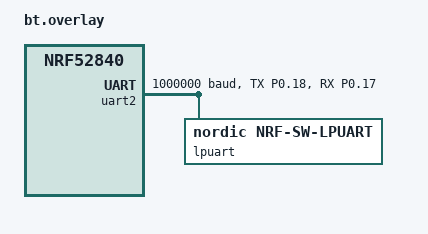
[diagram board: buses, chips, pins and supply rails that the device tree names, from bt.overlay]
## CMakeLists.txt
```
#
# Copyright (c) 2020 Nordic Semiconductor
#
# SPDX-License-Identifier: LicenseRef-Nordic-5-Clause
#

cmake_minimum_required(VERSION 3.20.0)

find_package(Zephyr REQUIRED HINTS $ENV{ZEPHYR_BASE})
project(MOSH)
target_include_directories(app PRIVATE src)

target_sources(app PRIVATE src/main.c)
target_sources(app PRIVATE src/shell.c)

add_subdirectory(src/print)
add_subdirectory(src/utils)
add_subdirectory(src/uart)
add_subdirectory(src/at)
add_subdirectory(src/link)
add_subdirectory_ifdef(CONFIG_MOSH_NRF91_NON_OFFLOADING_DEV src/drivers)
add_subdirectory_ifdef(CONFIG_MOSH_WORKER_THREADS src/th)
add_subdirectory_ifdef(CONFIG_MOSH_SOCK src/sock)
add_subdirectory_ifdef(CONFIG_MOSH_PING src/ping)
add_subdirectory_ifdef(CONFIG_MOSH_GNSS src/gnss)
add_subdirectory_ifdef(CONFIG_MOSH_SMS src/sms)
add_subdirectory_ifdef(CONFIG_MOSH_LOCATION src/location)
add_subdirectory_ifdef(CONFIG_MOSH_PPP src/ppp)
add_subdirectory_ifdef(CONFIG_MOSH_FOTA src/fota)
add_subdirectory_ifdef(CONFIG_MOSH_REST src/rest)
add_subdirectory_ifdef(CONFIG_MOSH_STARTUP_CMDS src/startup_cmd)
add_subdirectory_ifdef(CONFIG_MOSH_GPIO_COUNT src/gpio_count)
add_subdirectory_ifdef(CONFIG_MOSH_NTN src/ntn)
add_subdirectory_ifdef(CONFIG_SAMPLE_MOSH_IRONSIDE_SE_EVENT_REPORT src/ironside_se_event)
add_subdirectory(src/cloud)

if(CONFIG_SOC_NRF9251_CPUAPP AND CONFIG_CODE_DATA_RELOCATION)
  # Only .noinit (thread stacks) of these files is moved to the local TCM. TCM is not
  # accessible by EasyDMA or other cores, so these files must not have other .noinit objects
  # used for DMA or IPC.
  zephyr_code_relocate(FILES
    src/main.c
    ${ZEPHYR_BASE}/subsys/shell/backends/shell_uart.c
    ${ZEPHYR_BASE}/kernel/init.c
    ${ZEPHYR_BASE}/kernel/system_work_q.c
    LOCATION TCM_NOINIT
  )
  zephyr_code_relocate_ifdef(CONFIG_MOSH_SOCK FILES src/sock/sock.c LOCATION TCM_NOINIT)
  zephyr_code_relocate_ifdef(CONFIG_MOSH_GNSS FILES src/gnss/gnss.c LOCATION TCM_NOINIT)
endif()

if(NOT ENV{PROJECT_NAME})
  zephyr_compile_definitions(
    PROJECT_NAME=${CMAKE_PROJECT_NAME}
  )
endif()
```

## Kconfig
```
#
# Copyright (c) 2020 Nordic Semiconductor ASA
#
# SPDX-License-Identifier: LicenseRef-Nordic-5-Clause
#

menu "Nordic Modem Shell config"

config MOSH_IPERF3
	bool "iPerf3"
	default y
	select NRF_IPERF3

config NRF_IPERF3_PROMPTLESS
	bool
	default y

config MOSH_SOCK
	bool "Socket tool"
	default y
	help
	  Socket tool with TCP, UDP, RAW, IPv4, IPv6 and packet socket support.

config MOSH_PING
	bool "ICMP ping"
	default y
	help
	  Ping is a tool for testing the reachability of a host on an IP network.

config MOSH_CURL
	bool "cURL"
	default y
	select NRF_CURL

config NRF_CURL_PROMPTLESS
	bool
	default y

config MOSH_GNSS
	bool "GNSS"
	default y
	help
	  GNSS feature for searching the location of the device.

config MOSH_PPP
	bool "PPP"
	help
	  Point-to-Point Protocol for enabling dial-up access to the Internet.

config MOSH_SMS
	bool "SMS"
	default y
	help
	  SMS tool for sending and receiving SMS messages.

config MOSH_LOCATION
	bool "Location"
	default y
	select LOCATION
	select NRF_CLOUD_LOCATION if MOSH_CLOUD_MQTT && (LOCATION_METHOD_CELLULAR || LOCATION_METHOD_WIFI)
	help
	  Tool for location queries via location library.

config MOSH_FOTA
	bool "FOTA"
	default y
	help
	  FOTA for performing software updates over-the-air for both modem and application side.

config MOSH_REST
	bool "REST client"
	default y
	select REST_CLIENT
	help
	  REST client for sending and receiving simple REST requests/responses.

config MOSH_CLOUD_MQTT
	bool "MQTT connection to nRF Cloud"
	select NRF_CLOUD_MQTT
	help
	  MQTT connection to nRF Cloud.

config MOSH_CLOUD_COAP
	bool "CoAP connection to nRF Cloud"
	select NRF_CLOUD_COAP
	select MODEM_JWT
	help
	  CoAP connection to nRF Cloud.

config MOSH_CLOUD_LWM2M
	bool "Cloud connection using LwM2M"
	help
	  Cloud connection using LwM2M.

config MOSH_AT_CMD_MODE
	bool "Specific AT command mode"
	default y

config MOSH_GPIO_COUNT
	bool "GPIO pin pulse counter"
	default y if !BOARD_THINGY91X_NRF9151_NS
	help
	  Tool for counting the number of pulses on a GPIO pin.

config MOSH_NTN
	bool "Non-Terrestrial Network (NTN)"
	default y if BOARD_NRF9151DK_NRF9151_NS
	select NTN
	help
	  Helper functionality for NTN usage.

config SAMPLE_MOSH_IRONSIDE_SE_EVENT_REPORT
	bool "IronSide SE event report monitoring"
	default y if SOC_NRF9251_CPUAPP
	depends on HAS_IRONSIDE_SE_CALL
	help
	  Subscribe to IronSide SE event report bells (1 and 2) and print
	  received event reports to the terminal.

config MOSH_PRINT_BUFFER_SIZE
	int "Buffer size used when printing modem shell output"
	default 1024
	help
	  If the printed string exceeds this buffer, an error message is printed first and
	  then the requested string cut into the length of this buffer.

config MOSH_COMMON_WORKQUEUE_STACK_SIZE
	int "Common workqueue stack size"
	default 7168 if MOSH_CLOUD_MQTT
	default 6144 if MOSH_STARTUP_CMDS && MOSH_CURL
	default 4096

config MOSH_COMMON_WORKQUEUE_PRIORITY
	int "Common workqueue priority"
	default 5

if NRF_IPERF3

config NRF_IPERF3_RESULTS_WAIT_TIME
	default 180
endif

if MOSH_IPERF3 || MOSH_PING
menu "MoSH iperf3 and ping command selections"

config MOSH_WORKER_THREADS
	bool "Possibility to run iperf3 or ping instances in separate threads"
	default y

config MOSH_STARTUP_CMDS
	bool "Possibility to run stored MoSh commands from settings after bootup"
	default y

config MOSH_NRF91_NON_OFFLOADING_DEV
	bool "Possibility to run iperf3 with Zephyr TCP/IP stack"

endmenu
endif

if MOSH_AT_CMD_MODE
choice
	prompt "Command termination"
	default MOSH_AT_CMD_MODE_CR_LF_TERMINATION
	help
	  Sets the command termination ending from the serial terminal
	  Levels are:
	  -  NULL Termination
	  -  CR Termination
	  -  LF Termination
	  -  CR+LF Termination

config MOSH_AT_CMD_MODE_NULL_TERMINATION
	bool "NULL Termination"

config MOSH_AT_CMD_MODE_CR_TERMINATION
	bool "CR Termination"

config MOSH_AT_CMD_MODE_LF_TERMINATION
	bool "LF Termination"

config MOSH_AT_CMD_MODE_CR_LF_TERMINATION
	bool "CR+LF Termination"

endchoice

config MOSH_AT_CMD_MODE_TERMINATION
	int
	default 0 if MOSH_AT_CMD_MODE_NULL_TERMINATION
	default 1 if MOSH_AT_CMD_MODE_CR_TERMINATION
	default 2 if MOSH_AT_CMD_MODE_LF_TERMINATION
	default 3 if MOSH_AT_CMD_MODE_CR_LF_TERMINATION
endif

menu "MoSH link control selections"

config MOSH_LINK_SETT_NORMAL_MODE_AT_CMD_STR_LEN
	int "Link settings AT command length"
	default 127
	help
	  String length for custom AT commands stored into settings to be used
	  when going to normal mode.

endmenu

if MOSH_WORKER_THREADS

config MOSH_WORKER_THREADS_OUTPUT_BUFFER_SIZE
	int "Buffer size for storing output of the background thread commands"
	default 4096

config MOSH_WORKER_THREADS_STACK_SIZE
	int "Worker thread stack size"
	default 4096

endif #MOSH_WORKER_THREADS

if MOSH_CLOUD_LWM2M

config MOSH_LWM2M_PSK
	string "LwM2M pre-shared key for communication"
	help
	  Pre-shared key must be identical to the PSK registered with the device on the LwM2M server.
	  Use the hexadecimal representation.

config MOSH_LWM2M_ENDPOINT_PREFIX
	string "Prefix used in the LwM2M endpoint name"
	default "urn:imei:"
	help
	  Sets the prefix of the endpoint name used when connecting to the LwM2M server.

# Make AVSystem the default LwM2M server.
config LWM2M_CLIENT_UTILS_SERVER
	string "LwM2M server address"
	default "coaps://eu.iot.avsystem.cloud:5684"
	help
	  Kconfig redefinition, please see the help text of the original definition.

endif # MOSH_CLOUD_LWM2M

# For power measurement purposes, activate low power mode for asynchronous UARTs.
if UART_0_ASYNC

config UART_0_NRF_ASYNC_LOW_POWER
	bool "Low power mode"
	default y

endif # UART_0_ASYNC

if UART_1_ASYNC

config UART_1_NRF_ASYNC_LOW_POWER
	bool "Low power mode"
	default y

endif # UART_1_ASYNC

if BUILD_WITH_TFM

choice TFM_PROFILE_TYPE
	default TFM_PROFILE_TYPE_MINIMAL
endchoice

# Enable TF-M logging on UART0
choice TFM_SECURE_UART_INSTANCE
	default TFM_SECURE_UART0
endchoice

choice TFM_SPM_LOG_LEVEL
	default TFM_SPM_LOG_LEVEL_DEBUG
endchoice

endif # BUILD_WITH_TFM

if NVS

choice NVS_LOG_LEVEL_CHOICE
	default NVS_LOG_LEVEL_WRN
endchoice

endif # NVS

if SHELL_BACKEND_SERIAL

# Use interrupt driven shell UART, otherwise we won't be able to suspend the UART
choice SHELL_BACKEND_SERIAL_API
	default SHELL_BACKEND_SERIAL_API_INTERRUPT_DRIVEN
endchoice

# Shell RX buffer needs to be increased to avoid problems with test automation
configdefault SHELL_BACKEND_SERIAL_RX_RING_BUFFER_SIZE
	default 512

endif # SHELL_BACKEND_SERIAL

# Zephyr CoAP client
configdefault COAP_CLIENT_BLOCK_SIZE
	default 1024

configdefault COAP_CLIENT_STACK_SIZE
	default 6144

configdefault COAP_CLIENT_THREAD_PRIORITY
	default 0

configdefault COAP_EXTENDED_OPTIONS_LEN
	default y

configdefault COAP_EXTENDED_OPTIONS_LEN_VALUE
	default 80

# Report standard information to shadow
configdefault NRF_CLOUD_SEND_DEVICE_STATUS
	default y

configdefault NRF_CLOUD_SEND_DEVICE_STATUS_NETWORK
	default y

configdefault NRF_CLOUD_SEND_DEVICE_STATUS_SIM
	default y

endmenu # Modem Shell

menu "Zephyr Kernel"
source "Kconfig.zephyr"
endmenu
```

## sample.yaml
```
sample:
  name: Modem Shell sample
tests:
  sample.cellular.modem_shell:
    sysbuild: true
    build_only: true
    extra_args: EXTRA_CONF_FILE="shell_uart.conf;cloud_coap.conf;tfm_log.conf;soc_features.conf"
    integration_platforms: &modem_shell_integration_platforms
      - nrf9151dk/nrf9151/ns
    platform_allow: &modem_shell_platform_allow
      - nrf9151dk/nrf9151/ns
    tags:
      - ci_build
      - sysbuild
      - ci_samples_cellular
  sample.cellular.modem_shell.nrf9251:
    sysbuild: true
    build_only: true
    extra_args: EXTRA_CONF_FILE="shell_uart.conf;cloud_coap.conf"
    integration_platforms:
      - nrf9251dk/nrf9251/cpuapp
    platform_allow:
      - nrf9251dk/nrf9251/cpuapp
    tags:
      - ci_build
      - sysbuild
      - ci_samples_cellular
  sample.cellular.modem_shell_debug:
    sysbuild: true
    build_only: true
    integration_platforms: *modem_shell_integration_platforms
    platform_allow: *modem_shell_platform_allow
    extra_args: EXTRA_CONF_FILE="shell_uart.conf;cloud_coap.conf;tfm_log.conf;soc_features.conf;debug.conf"
    tags:
      - ci_build
      - sysbuild
      - ci_samples_cellular
  sample.cellular.modem_shell.cloud_mqtt_only:
    sysbuild: true
    build_only: true
    integration_platforms: *modem_shell_integration_platforms
    platform_allow: *modem_shell_platform_allow
    extra_configs:
      - CONFIG_LOCATION_SERVICE_NRF_CLOUD_GNSS_POS_SEND=y
    extra_args: EXTRA_CONF_FILE="shell_uart.conf;tfm_log.conf;soc_features.conf;cloud_mqtt.conf"
    tags:
      - ci_build
      - sysbuild
      - ci_samples_cellular
  sample.cellular.modem_shell.non_offloading_ip:
    sysbuild: true
    build_only: true
    integration_platforms: *modem_shell_integration_platforms
    platform_allow: *modem_shell_platform_allow
    extra_args: EXTRA_CONF_FILE="shell_uart.conf;tfm_log.conf;soc_features.conf;non-offloading.conf"
    tags:
      - ci_build
      - sysbuild
      - ci_samples_cellular
  sample.cellular.modem_shell.nrf7002ek_wifi:
    sysbuild: true
    build_only: true
    integration_platforms: *modem_shell_integration_platforms
    platform_allow: *modem_shell_platform_allow
    extra_args:
      - SHIELD=nrf7002ek_nrf7000
      - EXTRA_CONF_FILE="shell_uart.conf;cloud_coap.conf;tfm_log.conf;soc_features.conf;nrf700x-wifi-scan-only.conf"
      - SB_CONFIG_WIFI_NRF70=y
      - SB_CONFIG_WIFI_NRF70_SCAN_ONLY=y
    tags:
      - ci_build
      - sysbuild
      - ci_samples_cellular
  sample.cellular.modem_shell.nrf7000ek_wifi:
    sysbuild: true
    build_only: true
    integration_platforms: *modem_shell_integration_platforms
    platform_allow: *modem_shell_platform_allow
    extra_args:
      - SHIELD=nrf7002ek_nrf7000
      - EXTRA_CONF_FILE="shell_uart.conf;cloud_coap.conf;tfm_log.conf;soc_features.conf;nrf700x-wifi-scan-only.conf"
      - CONFIG_WIFI_NM_WPA_SUPPLICANT=n
      - SB_CONFIG_WIFI_NRF70=y
      - SB_CONFIG_WIFI_NRF70_SCAN_ONLY=y
    tags:
      - ci_build
      - sysbuild
      - ci_samples_cellular
  sample.cellular.modem_shell.nrf7002ek_wifi-debug:
    sysbuild: true
    build_only: true
    integration_platforms: *modem_shell_integration_platforms
    platform_allow: *modem_shell_platform_allow
    extra_args:
      - SHIELD=nrf7002ek_nrf7000
      - EXTRA_CONF_FILE="shell_uart.conf;cloud_coap.conf;tfm_log.conf;soc_features.conf;nrf700x-wifi-scan-only.conf;debug.conf"
      - SB_CONFIG_WIFI_NRF70=y
      - SB_CONFIG_WIFI_NRF70_SCAN_ONLY=y
    tags:
      - ci_build
      - sysbuild
      - ci_samples_cellular
  sample.cellular.modem_shell.app_fota:
    sysbuild: true
    build_only: true
    integration_platforms: *modem_shell_integration_platforms
    platform_allow: *modem_shell_platform_allow
    extra_args:
      - EXTRA_CONF_FILE="shell_uart.conf;cloud_coap.conf;tfm_log.conf;soc_features.conf;app_fota.conf"
      - DTC_OVERLAY_FILE=nrf91_bootloader.overlay
      - SB_CONFIG_BOOTLOADER_MCUBOOT=y
    tags:
      - ci_build
      - sysbuild
      - ci_samples_cellular
  sample.cellular.modem_shell.modem_fota_full.nrf91x1:
    sysbuild: true
    build_only: true
    extra_args:
      - EXTRA_CONF_FILE="shell_uart.conf;cloud_coap.conf;soc_features.conf;modem_fota_full.conf"
      - EXTRA_DTC_OVERLAY_FILE="nrf9151dk_ext_flash.overlay"
    integration_platforms:
      - nrf9151dk/nrf9151/ns
    platform_allow:
      - nrf9151dk/nrf9151/ns
    tags:
      - ci_build
      - sysbuild
      - ci_samples_cellular
  sample.cellular.modem_shell.perf_test:
    sysbuild: true
    build_only: true
    extra_args:
      - EXTRA_CONF_FILE="shell_uart.conf;cloud_coap.conf;tfm_log.conf;soc_features.conf"
      - EXTRA_DTC_OVERLAY_FILE="nrf91dk_perf_test.overlay"
    integration_platforms: *modem_shell_integration_platforms
    platform_allow: *modem_shell_platform_allow
    tags:
      - ci_build
      - sysbuild
      - ci_samples_cellular
  sample.cellular.modem_shell.perf_test_modem_trace_uart:
    sysbuild: true
    build_only: true
    extra_args:
      - EXTRA_CONF_FILE="shell_uart.conf;cloud_coap.conf;tfm_log.conf;soc_features.conf;nrf91dk_perf_test_modem_trace_uart.conf"
      - EXTRA_DTC_OVERLAY_FILE="nrf91dk_perf_test_modem_trace_uart.overlay"
    integration_platforms: *modem_shell_integration_platforms
    platform_allow: *modem_shell_platform_allow
    tags:
      - ci_build
      - sysbuild
      - ci_samples_cellular
  sample.cellular.modem_shell.perf_test.nrf9251:
    sysbuild: true
    build_only: true
    extra_args: EXTRA_DTC_OVERLAY_FILE="nrf9251dk_perf_test.overlay"
    integration_platforms:
      - nrf9251dk/nrf9251/cpuapp
    platform_allow:
      - nrf9251dk/nrf9251/cpuapp
    tags:
      - ci_build
      - sysbuild
      - ci_samples_cellular
  sample.cellular.modem_shell.perf_test_modem_trace_uart.nrf9251:
    sysbuild: true
    build_only: true
    extra_args:
      - EXTRA_CONF_FILE="nrf9251dk_perf_test_modem_trace_uart.conf"
      - EXTRA_DTC_OVERLAY_FILE="nrf9251dk_perf_test_modem_trace_uart.overlay"
    integration_platforms:
      - nrf9251dk/nrf9251/cpuapp
    platform_allow:
      - nrf9251dk/nrf9251/cpuapp
    tags:
      - ci_build
      - sysbuild
      - ci_samples_cellular
  sample.cellular.modem_shell.carrier:
    sysbuild: true
    build_only: true
    extra_args:
      - EXTRA_CONF_FILE="shell_uart.conf;cloud_coap.conf;tfm_log.conf;soc_features.conf;carrier.conf"
      - EXTRA_DTC_OVERLAY_FILE=carrier.overlay
    integration_platforms: *modem_shell_integration_platforms
    platform_allow: *modem_shell_platform_allow
    tags:
      - ci_build
      - sysbuild
      - ci_samples_cellular
  sample.cellular.modem_shell.lwm2m:
    sysbuild: true
    build_only: true
    extra_configs:
      - CONFIG_MOSH_LWM2M_PSK="000102030405060708090a0b0c0d0e0f"
    extra_args: EXTRA_CONF_FILE="shell_uart.conf;tfm_log.conf;soc_features.conf;lwm2m.conf"
    integration_platforms: *modem_shell_integration_platforms
    platform_allow: *modem_shell_platform_allow
    tags:
      - ci_build
      - sysbuild
      - ci_samples_cellular
  sample.cellular.modem_shell.lwm2m_bootstrap:
    sysbuild: true
    build_only: true
    extra_configs:
      - CONFIG_MOSH_LWM2M_PSK="000102030405060708090a0b0c0d0e0f"
    extra_args: EXTRA_CONF_FILE="shell_uart.conf;tfm_log.conf;soc_features.conf;lwm2m.conf;lwm2m_bootstrap.conf"
    integration_platforms: *modem_shell_integration_platforms
    platform_allow: *modem_shell_platform_allow
    tags:
      - ci_build
      - sysbuild
      - ci_samples_cellular
  sample.cellular.modem_shell.lwm2m_pgps:
    sysbuild: true
    build_only: true
    extra_configs:
      - CONFIG_MOSH_LWM2M_PSK="000102030405060708090a0b0c0d0e0f"
    extra_args:
      - EXTRA_CONF_FILE="shell_uart.conf;tfm_log.conf;soc_features.conf;lwm2m.conf;lwm2m_pgps.conf;pgps.conf"
      - EXTRA_DTC_OVERLAY_FILE=pgps.overlay
    integration_platforms: *modem_shell_integration_platforms
    platform_allow: *modem_shell_platform_allow
    tags:
      - ci_build
      - sysbuild
      - ci_samples_cellular
  sample.cellular.modem_shell.pgps:
    sysbuild: true
    build_only: true
    extra_args:
      - EXTRA_CONF_FILE="shell_uart.conf;cloud_coap.conf;tfm_log.conf;soc_features.conf;pgps.conf"
      - EXTRA_DTC_OVERLAY_FILE=pgps.overlay
    integration_platforms: *modem_shell_integration_platforms
    platform_allow: *modem_shell_platform_allow
    tags:
      - ci_build
      - sysbuild
      - ci_samples_cellular
  sample.cellular.modem_shell.pgps_nrf9251:
    sysbuild: true
    build_only: true
    extra_args:
      - EXTRA_CONF_FILE=pgps.conf
      - EXTRA_DTC_OVERLAY_FILE=nrf9251dk_pgps.overlay
    integration_platforms:
      - nrf9251dk/nrf9251/cpuapp
    platform_allow:
      - nrf9251dk/nrf9251/cpuapp
    tags:
      - ci_build
      - sysbuild
      - ci_samples_cellular
  sample.cellular.modem_shell.pgps_coap:
    sysbuild: true
    build_only: true
    extra_args:
      - EXTRA_CONF_FILE="shell_uart.conf;cloud_coap.conf;tfm_log.conf;soc_features.conf;pgps.conf"
      - EXTRA_DTC_OVERLAY_FILE=pgps.overlay
    integration_platforms: *modem_shell_integration_platforms
    platform_allow: *modem_shell_platform_allow
    tags:
      - ci_build
      - sysbuild
      - ci_samples_cellular
  sample.cellular.modem_shell.location_service_ext:
    sysbuild: true
    build_only: true
    extra_configs:
      - CONFIG_LOCATION_SERVICE_EXTERNAL=y
    extra_args: EXTRA_CONF_FILE="shell_uart.conf;tfm_log.conf;soc_features.conf;cloud_mqtt.conf"
    integration_platforms: *modem_shell_integration_platforms
    platform_allow: *modem_shell_platform_allow
    tags:
      - ci_build
      - sysbuild
      - ci_samples_cellular
  sample.cellular.modem_shell.location_service_ext_pgps_nrf7002ek_wifi:
    sysbuild: true
    build_only: true
    extra_configs:
      - CONFIG_LOCATION_SERVICE_EXTERNAL=y
      - CONFIG_NRF_CLOUD_PGPS_TRANSPORT_NONE=y
    extra_args:
      - SHIELD=nrf7002ek_nrf7000
      - EXTRA_CONF_FILE="shell_uart.conf;tfm_log.conf;soc_features.conf;cloud_mqtt.conf;pgps.conf;nrf700x-wifi-scan-only.conf"
      - EXTRA_DTC_OVERLAY_FILE=pgps.overlay
      - SB_CONFIG_WIFI_NRF70=y
      - SB_CONFIG_WIFI_NRF70_SCAN_ONLY=y
    integration_platforms: *modem_shell_integration_platforms
    platform_allow: *modem_shell_platform_allow
    tags:
      - ci_build
      - sysbuild
      - ci_samples_cellular
  sample.cellular.modem_shell.ppp:
    sysbuild: true
    build_only: true
    extra_args:
      - EXTRA_CONF_FILE="shell_uart.conf;cloud_coap.conf;tfm_log.conf;soc_features.conf;ppp.conf"
      - EXTRA_DTC_OVERLAY_FILE="ppp.overlay"
    integration_platforms: *modem_shell_integration_platforms
    platform_allow: *modem_shell_platform_allow
    tags:
      - ci_build
      - sysbuild
      - ci_samples_cellular
  sample.cellular.modem_shell.rtt:
    sysbuild: true
    build_only: true
    extra_args: EXTRA_CONF_FILE="cloud_coap.conf;tfm_log.conf;soc_features.conf;rtt.conf"
    integration_platforms: *modem_shell_integration_platforms
    platform_allow: *modem_shell_platform_allow
    tags:
      - ci_build
      - sysbuild
      - ci_samples_cellular
  sample.cellular.modem_shell.thingy91:
    sysbuild: true
    build_only: true
    extra_args: EXTRA_CONF_FILE="shell_uart.conf;cloud_coap.conf;tfm_log.conf;soc_features.conf"
    integration_platforms:
      - thingy91x/nrf9151/ns
    platform_allow:
      - thingy91x/nrf9151/ns
    tags:
      - ci_build
      - sysbuild
      - ci_samples_cellular
  sample.cellular.modem_shell.thingy91x_wifi:
    sysbuild: true
    build_only: true
    integration_platforms:
      - thingy91x/nrf9151/ns
    platform_allow:
      - thingy91x/nrf9151/ns
    extra_args:
      - EXTRA_CONF_FILE="shell_uart.conf;cloud_coap.conf;tfm_log.conf;soc_features.conf;nrf700x-wifi-scan-only.conf"
      - EXTRA_DTC_OVERLAY_FILE=thingy91x_wifi.overlay
      - SB_CONFIG_WIFI_NRF70=y
      - SB_CONFIG_WIFI_NRF70_SCAN_ONLY=y
    tags:
      - ci_build
      - sysbuild
      - ci_samples_cellular
  sample.cellular.modem_shell.ntn_external_gnss:
    sysbuild: true
    build_only: true
    integration_platforms:
      - nrf9151dk/nrf9151/ns
    platform_allow:
      - nrf9151dk/nrf9151/ns
    extra_configs:
      - CONFIG_GNSS=y
    extra_args:
      - EXTRA_CONF_FILE="shell_uart.conf;cloud_coap.conf;tfm_log.conf;soc_features.conf"
      - EXTRA_DTC_OVERLAY_FILE=ext_gnss_uart.overlay
    tags:
      - ci_build
      - sysbuild
      - ci_samples_cellular
  sample.cellular.modem_shell.modem_trace_shell_ext_flash:
    sysbuild: true
    build_only: true
    integration_platforms: *modem_shell_integration_platforms
    platform_allow: *modem_shell_platform_allow
    extra_args:
      - EXTRA_CONF_FILE="shell_uart.conf;cloud_coap.conf;tfm_log.conf;soc_features.conf"
      - modem_shell_SNIPPET="nrf91-modem-trace-ext-flash"
    extra_configs:
      - CONFIG_NRF_MODEM_LIB_SHELL_TRACE=y
    tags:
      - ci_build
      - sysbuild
      - ci_samples_cellular
  sample.cellular.modem_shell.modem_trace_ram:
    sysbuild: true
    build_only: true
    integration_platforms: *modem_shell_integration_platforms
    platform_allow: *modem_shell_platform_allow
    extra_args:
      - EXTRA_CONF_FILE="shell_uart.conf;cloud_coap.conf;tfm_log.conf;soc_features.conf"
      - modem_shell_SNIPPET="nrf91-modem-trace-ram"
    tags:
      - ci_build
      - sysbuild
      - ci_samples_cellular
  # Configurations for different location method combinations
  sample.cellular.modem_shell.location_gnss_wifi_no_cellular:
    sysbuild: true
    build_only: true
    integration_platforms: *modem_shell_integration_platforms
    platform_allow: *modem_shell_platform_allow
    extra_configs:
      - CONFIG_LOCATION_METHOD_GNSS=y
      - CONFIG_LOCATION_METHOD_CELLULAR=n
      - CONFIG_LOCATION_METHOD_WIFI=y
    extra_args:
      - SHIELD=nrf7002ek_nrf7000
      - EXTRA_CONF_FILE="shell_uart.conf;cloud_coap.conf;tfm_log.conf;soc_features.conf;nrf700x-wifi-scan-only.conf"
      - SB_CONFIG_WIFI_NRF70=y
      - SB_CONFIG_WIFI_NRF70_SCAN_ONLY=y
    tags:
      - ci_build
      - sysbuild
      - ci_samples_cellular
  sample.cellular.modem_shell.location_wifi_cellular_no_gnss:
    sysbuild: true
    build_only: true
    integration_platforms: *modem_shell_integration_platforms
    platform_allow: *modem_shell_platform_allow
    extra_configs:
      - CONFIG_LOCATION_METHOD_GNSS=n
      - CONFIG_LOCATION_METHOD_CELLULAR=y
      - CONFIG_LOCATION_METHOD_WIFI=y
    extra_args:
      - SHIELD=nrf7002ek_nrf7000
      - EXTRA_CONF_FILE="shell_uart.conf;cloud_coap.conf;tfm_log.conf;soc_features.conf;nrf700x-wifi-scan-only.conf"
      - SB_CONFIG_WIFI_NRF70=y
      - SB_CONFIG_WIFI_NRF70_SCAN_ONLY=y
    tags:
      - ci_build
      - sysbuild
      - ci_samples_cellular
  sample.cellular.modem_shell.location_wifi_no_cellular_no_gnss:
    sysbuild: true
    build_only: true
    integration_platforms: *modem_shell_integration_platforms
    platform_allow: *modem_shell_platform_allow
    extra_configs:
      - CONFIG_LOCATION_METHOD_GNSS=n
      - CONFIG_LOCATION_METHOD_CELLULAR=n
      - CONFIG_LOCATION_METHOD_WIFI=y
    extra_args:
      - SHIELD=nrf7002ek_nrf7000
      - EXTRA_CONF_FILE="shell_uart.conf;cloud_coap.conf;tfm_log.conf;soc_features.conf;nrf700x-wifi-scan-only.conf"
      - SB_CONFIG_WIFI_NRF70=y
      - SB_CONFIG_WIFI_NRF70_SCAN_ONLY=y
    tags:
      - ci_build
      - sysbuild
      - ci_samples_cellular
  sample.cellular.modem_shell.location_gnss_no_wifi_no_cellular:
    sysbuild: true
    build_only: true
    extra_args: EXTRA_CONF_FILE="shell_uart.conf;cloud_coap.conf;tfm_log.conf;soc_features.conf"
    integration_platforms: *modem_shell_integration_platforms
    platform_allow: *modem_shell_platform_allow
    extra_configs:
      - CONFIG_LOCATION_METHOD_GNSS=y
      - CONFIG_LOCATION_METHOD_CELLULAR=n
      - CONFIG_LOCATION_METHOD_WIFI=n
    tags:
      - ci_build
      - sysbuild
      - ci_samples_cellular
  sample.cellular.modem_shell.location_cellular_no_wifi_no_gnss:
    sysbuild: true
    build_only: true
    extra_args: EXTRA_CONF_FILE="shell_uart.conf;cloud_coap.conf;tfm_log.conf;soc_features.conf"
    integration_platforms: *modem_shell_integration_platforms
    platform_allow: *modem_shell_platform_allow
    extra_configs:
      - CONFIG_LOCATION_METHOD_GNSS=n
      - CONFIG_LOCATION_METHOD_CELLULAR=y
      - CONFIG_LOCATION_METHOD_WIFI=n
    tags:
      - ci_build
      - sysbuild
      - ci_samples_cellular
  # Configurations with location data details and some location method combinations
  sample.cellular.modem_shell.location_gnss_wifi_cellular_details:
    sysbuild: true
    build_only: true
    integration_platforms: *modem_shell_integration_platforms
    platform_allow: *modem_shell_platform_allow
    extra_configs:
      - CONFIG_LOCATION_DATA_DETAILS=y
      - CONFIG_LOCATION_METHOD_GNSS=y
      - CONFIG_LOCATION_METHOD_CELLULAR=y
      - CONFIG_LOCATION_METHOD_WIFI=y
    extra_args:
      - SHIELD=nrf7002ek_nrf7000
      - EXTRA_CONF_FILE="shell_uart.conf;cloud_coap.conf;tfm_log.conf;soc_features.conf;nrf700x-wifi-scan-only.conf"
      - SB_CONFIG_WIFI_NRF70=y
      - SB_CONFIG_WIFI_NRF70_SCAN_ONLY=y
    tags:
      - ci_build
      - sysbuild
      - ci_samples_cellular
  sample.cellular.modem_shell.location_gnss_no_wifi_no_cellular_details:
    sysbuild: true
    build_only: true
    extra_args: EXTRA_CONF_FILE="shell_uart.conf;cloud_coap.conf;tfm_log.conf;soc_features.conf"
    integration_platforms: *modem_shell_integration_platforms
    platform_allow: *modem_shell_platform_allow
    extra_configs:
      - CONFIG_LOCATION_DATA_DETAILS=y
      - CONFIG_LOCATION_METHOD_GNSS=y
      - CONFIG_LOCATION_METHOD_CELLULAR=n
      - CONFIG_LOCATION_METHOD_WIFI=n
    tags:
      - ci_build
      - sysbuild
      - ci_samples_cellular
  sample.cellular.modem_shell.location_wifi_cellular_no_gnss_details:
    sysbuild: true
    build_only: true
    integration_platforms: *modem_shell_integration_platforms
    platform_allow: *modem_shell_platform_allow
    extra_configs:
      - CONFIG_LOCATION_DATA_DETAILS=y
      - CONFIG_LOCATION_METHOD_GNSS=n
      - CONFIG_LOCATION_METHOD_CELLULAR=y
      - CONFIG_LOCATION_METHOD_WIFI=y
    extra_args:
      - SHIELD=nrf7002ek_nrf7000
      - EXTRA_CONF_FILE="shell_uart.conf;cloud_coap.conf;tfm_log.conf;soc_features.conf;nrf700x-wifi-scan-only.conf"
      - SB_CONFIG_WIFI_NRF70=y
      - SB_CONFIG_WIFI_NRF70_SCAN_ONLY=y
    tags:
      - ci_build
      - sysbuild
      - ci_samples_cellular
  sample.cellular.modem_shell.location_gnss_cellular_no_wifi_details:
    sysbuild: true
    build_only: true
    extra_args: EXTRA_CONF_FILE="shell_uart.conf;cloud_coap.conf;tfm_log.conf;soc_features.conf"
    integration_platforms: *modem_shell_integration_platforms
    platform_allow: *modem_shell_platform_allow
    extra_configs:
      - CONFIG_LOCATION_DATA_DETAILS=y
      - CONFIG_LOCATION_METHOD_GNSS=y
      - CONFIG_LOCATION_METHOD_CELLULAR=y
      - CONFIG_LOCATION_METHOD_WIFI=n
    tags:
      - ci_build
      - sysbuild
      - ci_samples_cellular
  # Configurations with modem UART traces to make sure they fit into image.
  # Basic UART trace configuration is tested in sample.cellular.modem_shell.integration_config.
  sample.cellular.modem_shell_modem_uart_trace:
    sysbuild: true
    build_only: true
    extra_args:
      - EXTRA_CONF_FILE="shell_uart.conf;cloud_coap.conf;tfm_log.conf;soc_features.conf"
      - modem_shell_SNIPPET="nrf91-modem-trace-uart"
    integration_platforms:
      - nrf9151dk/nrf9151/ns
    platform_allow:
      - nrf9151dk/nrf9151/ns
      - thingy91x/nrf9151/ns
    tags:
      - ci_build
      - sysbuild
      - ci_samples_cellular
  sample.cellular.modem_shell.non_offloading_ip_modem_uart_trace:
    sysbuild: true
    build_only: true
    extra_args:
      - EXTRA_CONF_FILE="shell_uart.conf;tfm_log.conf;soc_features.conf;non-offloading.conf"
      - modem_shell_SNIPPET="nrf91-modem-trace-uart"
    integration_platforms: *modem_shell_integration_platforms
    platform_allow: *modem_shell_platform_allow
    tags:
      - ci_build
      - sysbuild
      - ci_samples_cellular
  # Configurations which will be used by the CI integration job to verify PRs
  sample.cellular.modem_shell.integration_config.nrf9151:
    sysbuild: true
    build_only: true
    extra_configs:
      - CONFIG_LTE_NETWORK_MODE_LTE_M=y
      - CONFIG_MODEM_ANTENNA_GNSS_EXTERNAL=y
    extra_args:
      - EXTRA_CONF_FILE="shell_uart.conf;cloud_coap.conf;tfm_log.conf;soc_features.conf"
      - modem_shell_SNIPPET="nrf91-modem-trace-uart"
      - SB_CONFIG_MERGED_HEX_FILES=y
    integration_platforms:
      - nrf9151dk/nrf9151/ns
    platform_allow:
      - nrf9151dk/nrf9151/ns
    tags:
      - ci_build
      - sysbuild
      - ci_samples_cellular
  sample.cellular.modem_shell.integration_config.nrf9251:
    sysbuild: true
    build_only: true
    extra_configs:
      - CONFIG_LTE_NETWORK_MODE_LTE_M=y
    extra_args:
      - modem_shell_SNIPPET="nrf92-modem-trace-uart"
      - SB_CONFIG_MERGED_HEX_FILES=y
    integration_platforms:
      - nrf9251dk/nrf9251/cpuapp
    platform_allow:
      - nrf9251dk/nrf9251/cpuapp
    tags:
      - ci_build
      - sysbuild
      - ci_samples_cellular
```

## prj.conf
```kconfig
#
# Copyright (c) 2020 Nordic Semiconductor ASA
#
# SPDX-License-Identifier: LicenseRef-Nordic-5-Clause
#
# General config

CONFIG_MOSH_IPERF3=y
CONFIG_MOSH_SOCK=y
CONFIG_MOSH_PING=y
CONFIG_MOSH_CURL=y
CONFIG_MOSH_SMS=y
CONFIG_MOSH_GNSS=y
CONFIG_MOSH_LOCATION=y

# Stacks and heaps
CONFIG_MAIN_STACK_SIZE=4096
CONFIG_HEAP_MEM_POOL_SIZE=8192

# System queue is used e.g. by AT monitor and SMS lib
CONFIG_SYSTEM_WORKQUEUE_STACK_SIZE=2048

# Shell configurations
CONFIG_SHELL=y
CONFIG_SHELL_WILDCARD=n
CONFIG_SHELL_PROMPT_UART="mosh:~$ "
CONFIG_SHELL_ARGC_MAX=40
# -h and --help options are handled in Modem Shell
CONFIG_SHELL_HELP_OPT_PARSE=n
# Command line buffer is set this large to enable writing of certificates and injecting A-GNSS data on command line.
CONFIG_SHELL_CMD_BUFF_SIZE=3584
# Shell stack has impact for modem shell application, not CONFIG_MAIN_STACK_SIZE
CONFIG_SHELL_STACK_SIZE=9216
# Ineffective here: rtt.conf disables SHELL_BACKEND_SERIAL, which this option depends on, so it
# stays unset; moved to Kconfig as a default under SHELL_BACKEND_SERIAL.
# CONFIG_SHELL_BACKEND_SERIAL_RX_RING_BUFFER_SIZE=512
# Ineffective here: rtt.conf disables SHELL_BACKEND_SERIAL, so this choice member cannot be
# selected; moved to Kconfig as the SHELL_BACKEND_SERIAL_API choice default.
# CONFIG_SHELL_BACKEND_SERIAL_API_INTERRUPT_DRIVEN=y
# LTE shell is unnecessary with Modem Shell
CONFIG_LTE_SHELL=n
# Enable use of vsnprintfcb() for extending mosh_print() format
CONFIG_CBPRINTF_LIBC_SUBSTS=y

CONFIG_FPU=y
CONFIG_CJSON_LIB=y

# Getopt
CONFIG_GETOPT_LONG=y

# Device power management
CONFIG_PM_DEVICE=y
CONFIG_POWEROFF=y

# Needed for changing the UART baudrate at runtime
CONFIG_UART_USE_RUNTIME_CONFIGURE=y

# Modem info
CONFIG_MODEM_INFO=y

# Modem key management
CONFIG_MODEM_KEY_MGMT=y

# Network
CONFIG_NETWORKING=y
CONFIG_NET_NATIVE=n
CONFIG_NET_SOCKETS=y
CONFIG_NET_SOCKETS_OFFLOAD=y
CONFIG_NET_IPV4=y
CONFIG_NET_IPV6=y

CONFIG_POSIX_API=y
CONFIG_ZVFS_POLL_MAX=8

# Modem library
CONFIG_NRF_MODEM_LIB=y
CONFIG_NRF_MODEM_LIB_ON_FAULT_APPLICATION_SPECIFIC=y

# AT monitor library
CONFIG_AT_MONITOR=y

# Increase AT monitor heap because %NCELLMEAS notifications can be long.
# Note: with legacy NCELLMEAS types, 512 is enough, but with GCI search types
# it could be even longer: theoretical maximum of 4020 bytes.
CONFIG_AT_MONITOR_HEAP_SIZE=1024

# Custom AT commands
CONFIG_AT_CMD_CUSTOM=y
CONFIG_AT_CMD_CUSTOM_LOG_LEVEL_OFF=y

# SMS
CONFIG_SMS=y

# LTE link control
CONFIG_LTE_LINK_CONTROL=y
# Use modem system mode setting by default
CONFIG_LTE_NETWORK_MODE_DEFAULT=y
# These can be enabled at runtime using shell commands
CONFIG_LTE_LC_MODEM_SLEEP_NOTIFICATIONS=n
CONFIG_LTE_LC_TAU_PRE_WARNING_NOTIFICATIONS=n
# Minimum values for thresholds
CONFIG_LTE_LC_TAU_PRE_WARNING_THRESHOLD_MS=10240
CONFIG_LTE_LC_MODEM_SLEEP_NOTIFICATIONS_THRESHOLD_MS=10240
# Maximum number of neighbor cells for neighbor cell measurement
CONFIG_LTE_NEIGHBOR_CELLS_MAX=17
# Enable required modules
CONFIG_LTE_LC_MODEM_EVENTS_MODULE=y
CONFIG_LTE_LC_CONN_EVAL_MODULE=y
CONFIG_LTE_LC_EDRX_MODULE=y
CONFIG_LTE_LC_NEIGHBOR_CELL_MEAS_MODULE=y
CONFIG_LTE_LC_PERIODIC_SEARCH_MODULE=y
CONFIG_LTE_LC_PSM_MODULE=y
CONFIG_LTE_LC_RAI_MODULE=y
CONFIG_LTE_LC_MODEM_SLEEP_MODULE=y
CONFIG_LTE_LC_TAU_PRE_WARNING_MODULE=y
CONFIG_LTE_LC_ENV_EVAL_MODULE=y
CONFIG_LTE_LC_PDN_MODULE=y
CONFIG_LTE_LC_PDN_ESM_STRERROR=y

CONFIG_DATE_TIME=y

# nRF Cloud A-GNSS, disable this in case you want to enable SUPL below
CONFIG_NRF_CLOUD=y
CONFIG_NRF_CLOUD_AGNSS=y

# SUPL A-GNSS support, needs the nRF91 Series SUPL client library from nRF9160 DK product page
#CONFIG_SUPL_CLIENT_LIB=y

# Library for buttons and LEDs
CONFIG_DK_LIBRARY=y

# FOTA
CONFIG_FLASH=y
CONFIG_REBOOT=y
CONFIG_DFU_TARGET=y
CONFIG_FOTA_DOWNLOAD=y
CONFIG_DOWNLOADER=y
CONFIG_DOWNLOADER_SHELL=y
# BOOTLOADER_MCUBOOT reduces usable flash size by half so it's disabled by default
# This means application FOTA is disabled. Modem FOTA works without these.
CONFIG_BOOTLOADER_MCUBOOT=n
CONFIG_IMG_MANAGER=n
CONFIG_IMG_ERASE_PROGRESSIVELY=n

# Settings
CONFIG_FLASH=y
CONFIG_FLASH_MAP=y
CONFIG_MPU_ALLOW_FLASH_WRITE=y
CONFIG_NVS=y
CONFIG_SETTINGS=y

# Debugging configurations
CONFIG_ASSERT=y
CONFIG_LOG=y
CONFIG_LOG_RUNTIME_FILTERING=n
# Keep printk() synchronous
CONFIG_LOG_PRINTK=n
#CONFIG_DEBUG_OPTIMIZATIONS=y
#CONFIG_NO_OPTIMIZATIONS=y
#CONFIG_FORCE_NO_ASSERT=y
CONFIG_ASSERT_VERBOSE=y
#CONFIG_ASSERT_LEVEL=2
#CONFIG_ASSERT_ON_ERRORS=y
#CONFIG_FAULT_DUMP=2
CONFIG_RESET_ON_FATAL_ERROR=n
CONFIG_EXTRA_EXCEPTION_INFO=y
#CONFIG_WATCHDOG=y
CONFIG_SYS_HEAP_RUNTIME_STATS=y

# nRF Cloud CoAP
CONFIG_MOSH_CLOUD_COAP=y

# Zephyr CoAP client
# Ineffective here: cloud_mqtt.conf, lwm2m.conf and non-offloading.conf disable MOSH_CLOUD_COAP,
# so the CoAP client options below do not exist there; moved to Kconfig as defaults.
# CONFIG_COAP_CLIENT_BLOCK_SIZE=1024
# CONFIG_COAP_CLIENT_STACK_SIZE=6144
# CONFIG_COAP_CLIENT_THREAD_PRIORITY=0
# CONFIG_COAP_EXTENDED_OPTIONS_LEN=y
# CONFIG_COAP_EXTENDED_OPTIONS_LEN_VALUE=80

# Report standard information to shadow
# Ineffective here: lwm2m.conf and non-offloading.conf disable MOSH_CLOUD_COAP, so neither
# NRF_CLOUD_MQTT nor NRF_CLOUD_COAP is enabled there and the options below do not exist; moved to
# Kconfig as defaults.
# CONFIG_NRF_CLOUD_SEND_DEVICE_STATUS=y
# CONFIG_NRF_CLOUD_SEND_DEVICE_STATUS_NETWORK=y
# CONFIG_NRF_CLOUD_SEND_DEVICE_STATUS_SIM=y
CONFIG_NRF_CLOUD_SEND_SERVICE_INFO_FOTA=n
```

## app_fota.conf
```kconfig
#
# Copyright (c) 2020 Nordic Semiconductor
#
# SPDX-License-Identifier: LicenseRef-Nordic-5-Clause
#

# Some of the MoSh features need to be switched off to free enough flash
CONFIG_MOSH_IPERF3=n
CONFIG_MOSH_CURL=n
CONFIG_MOSH_REST=n
CONFIG_MOSH_WORKER_THREADS=n
CONFIG_MOSH_LOCATION=n
CONFIG_MOSH_GNSS=n

CONFIG_BOOTLOADER_MCUBOOT=y
CONFIG_IMG_MANAGER=y
CONFIG_STREAM_FLASH=y
CONFIG_IMG_ERASE_PROGRESSIVELY=y
```

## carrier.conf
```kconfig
#
# Copyright (c) 2020 Nordic Semiconductor
#
# SPDX-License-Identifier: LicenseRef-Nordic-5-Clause
#

CONFIG_LWM2M_CARRIER=y
CONFIG_LWM2M_CARRIER_SETTINGS=y
CONFIG_LWM2M_CARRIER_SHELL=y

CONFIG_FLASH=y
CONFIG_FLASH_PAGE_LAYOUT=y

CONFIG_MPU_ALLOW_FLASH_WRITE=y

CONFIG_NVS=y
CONFIG_NVS_LOG_LEVEL_OFF=y

CONFIG_DOWNLOADER=y

CONFIG_MODEM_KEY_MGMT=y

CONFIG_REBOOT=y

# Some of the MoSh features need to be switched off to free enough flash
CONFIG_MOSH_REST=n
CONFIG_MOSH_WORKER_THREADS=n

# Also modem shell FOTA support needs to be disabled
CONFIG_MOSH_FOTA=n
CONFIG_BOOTLOADER_MCUBOOT=n
CONFIG_IMG_MANAGER=n
CONFIG_IMG_ERASE_PROGRESSIVELY=n

# DFU target library
CONFIG_DFU_TARGET=y

# IPv4 (IPv6 is enabled by default)
CONFIG_NET_IPV4=y
```

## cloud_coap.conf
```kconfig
#
# Copyright (c) 2026 Nordic Semiconductor
#
# SPDX-License-Identifier: LicenseRef-Nordic-5-Clause
#
# Tuning for the nRF Cloud CoAP transport selected by MOSH_CLOUD_COAP. The
# LwM2M, MQTT-only and non-offloading variants clear MOSH_CLOUD_COAP, which
# leaves NRF_CLOUD_COAP and COAP_CLIENT unset, so these symbols cannot be
# assigned from the shared prj.conf.

# Zephyr CoAP client
CONFIG_COAP_CLIENT_BLOCK_SIZE=1024
CONFIG_COAP_CLIENT_STACK_SIZE=6144
CONFIG_COAP_CLIENT_THREAD_PRIORITY=0
CONFIG_COAP_EXTENDED_OPTIONS_LEN_VALUE=80

# Report standard information to shadow
CONFIG_NRF_CLOUD_SEND_DEVICE_STATUS=y
CONFIG_NRF_CLOUD_SEND_DEVICE_STATUS_NETWORK=y
CONFIG_NRF_CLOUD_SEND_DEVICE_STATUS_SIM=y
```

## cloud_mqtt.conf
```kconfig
#
# Copyright (c) 2021 Nordic Semiconductor
#
# SPDX-License-Identifier: LicenseRef-Nordic-5-Clause
#

# Modem Shell
CONFIG_MOSH_CLOUD_MQTT=y
CONFIG_MOSH_CLOUD_COAP=n

# Report standard information to shadow. These need a cloud transport, so each
# transport fragment carries them instead of the shared prj.conf.
CONFIG_NRF_CLOUD_SEND_DEVICE_STATUS=y
CONFIG_NRF_CLOUD_SEND_DEVICE_STATUS_NETWORK=y
CONFIG_NRF_CLOUD_SEND_DEVICE_STATUS_SIM=y
```

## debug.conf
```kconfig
#
# Copyright (c) 2022 Nordic Semiconductor ASA
#
# SPDX-License-Identifier: LicenseRef-Nordic-5-Clause
#

# Forces a maximal log level for all modules.
# Modules saturates their specified level if it is greater than this option,
# otherwise they use the level specified by this option instead of their default
# or whatever was manually set. Levels are:
#
# 0 OFF, logging is turned off
# 1 ERROR, maximal level set to LOG_LEVEL_ERR
# 2 WARNING, maximal level set to LOG_LEVEL_WRN
# 3 INFO, maximal level set to LOG_LEVEL_INFO
# 4 DEBUG, maximal level set to LOG_LEVEL_DBG
CONFIG_LOG_MAX_LEVEL=4

# Increase log buffer size to prevent logs being dropped.
CONFIG_LOG_BUFFER_SIZE=2048

# Location library
CONFIG_LOCATION_LOG_LEVEL_DBG=y

# SMS library
CONFIG_SMS_LOG_LEVEL_DBG=y

# nRF Cloud
CONFIG_NRF_CLOUD_LOG_LEVEL_DBG=y
CONFIG_NRF_CLOUD_GPS_LOG_LEVEL_DBG=y

# REST client library
CONFIG_REST_CLIENT_LOG_LEVEL_DBG=y

# Date time
CONFIG_DATE_TIME_LOG_LEVEL_DBG=y

# Settings
CONFIG_SETTINGS_LOG_LEVEL_DBG=y

# nRF Modem Library
#CONFIG_NRF_MODEM_LOG=y
#CONFIG_NRF_MODEM_LIB_LOG_LEVEL_DBG=y

# AT monitor
#CONFIG_AT_MONITOR_LOG_LEVEL_DBG=y

# LTE link control library
#CONFIG_LTE_LINK_CONTROL_LOG_LEVEL_DBG=y
```

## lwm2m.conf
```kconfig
#
# Copyright (c) 2022 Nordic Semiconductor
#
# SPDX-License-Identifier: LicenseRef-Nordic-5-Clause
#

CONFIG_MOSH_CLOUD_LWM2M=y
CONFIG_MOSH_LOCATION=y

# Disable some features, otherwise we may run out of RAM
CONFIG_MOSH_REST=n
CONFIG_MOSH_CLOUD_COAP=n

# Heap size needs to be increased due to LwM2M A-GNSS data buffer
CONFIG_HEAP_MEM_POOL_SIZE=10240
CONFIG_LWM2M_ENGINE_STACK_SIZE=3072

# Handle Location library GNSS data and cellular location requests in the application
CONFIG_LOCATION_SERVICE_EXTERNAL=y

# Set the LwM2M pre-shared key (PSK) here
#CONFIG_MOSH_LWM2M_PSK="000102030405060708090a0b0c0d0e0f"

# LwM2M client utils library
CONFIG_LWM2M_CLIENT_UTILS=y
CONFIG_LWM2M_CLIENT_UTILS_SECURITY_OBJ_SUPPORT=y
CONFIG_LWM2M_CLIENT_UTILS_CONN_MON_OBJ_SUPPORT=y
CONFIG_LWM2M_CLIENT_UTILS_LOCATION_OBJ_SUPPORT=y
CONFIG_LWM2M_CLIENT_UTILS_FIRMWARE_UPDATE_OBJ_SUPPORT=n
CONFIG_LWM2M_CLIENT_UTILS_SIGNAL_MEAS_INFO_OBJ_SUPPORT=y
CONFIG_LWM2M_CLIENT_UTILS_GROUND_FIX_OBJ_SUPPORT=y
CONFIG_LWM2M_CLIENT_UTILS_GNSS_ASSIST_OBJ_SUPPORT=y
CONFIG_LWM2M_CLIENT_UTILS_LOCATION_ASSIST_AGNSS=y
CONFIG_LWM2M_CLIENT_UTILS_LOCATION_ASSIST_CELL=y

# LwM2M and IPSO
CONFIG_LWM2M=y
CONFIG_LWM2M_COAP_BLOCK_SIZE=512
CONFIG_LWM2M_COAP_MAX_MSG_SIZE=1280
CONFIG_LWM2M_ENGINE_MAX_OBSERVER=15
CONFIG_LWM2M_ENGINE_MAX_MESSAGES=15
CONFIG_LWM2M_ENGINE_MAX_PENDING=15
CONFIG_LWM2M_ENGINE_MAX_REPLIES=15
CONFIG_LWM2M_ENGINE_DEFAULT_LIFETIME=30
CONFIG_LWM2M_DNS_SUPPORT=y
CONFIG_LWM2M_RW_JSON_SUPPORT=n
CONFIG_LWM2M_RW_OMA_TLV_SUPPORT=y
CONFIG_LWM2M_SERVER_DEFAULT_PMIN=1
CONFIG_LWM2M_SERVER_DEFAULT_PMAX=300
CONFIG_LWM2M_IPSO_SUPPORT=y
# Enable LwM2M 1.1
CONFIG_LWM2M_VERSION_1_1=y
CONFIG_LWM2M_COMPOSITE_PATH_LIST_SIZE=10
# Enable SenML-CBOR content format
CONFIG_LWM2M_RW_SENML_CBOR_SUPPORT=y
CONFIG_ZCBOR=y
CONFIG_ZCBOR_CANONICAL=y
CONFIG_LWM2M_RW_SENML_CBOR_RECORDS=35

# IPSO v1.1
CONFIG_LWM2M_SERVER_OBJECT_VERSION_1_1=y

# DTLS settings
CONFIG_LWM2M_DTLS_SUPPORT=y

# Enable LwM2M Queue Mode
CONFIG_LWM2M_QUEUE_MODE_ENABLED=y
# Optimize power usage by using tickless mode in LwM2M engine
CONFIG_LWM2M_TICKLESS=y
# Required by tickless mode
CONFIG_NET_SOCKETPAIR=y
# Enable TLS session caching to prevent doing a full TLS handshake for every send.
CONFIG_LWM2M_TLS_SESSION_CACHING=y
# Socket close is skipped at RX off idle state to optimize power consumption.
# Socket close call activates RCC connection to send Alert message to the server.
# Alert is now sent before opening a new connection.
CONFIG_LWM2M_RD_CLIENT_SUSPEND_SOCKET_AT_IDLE=y
# Sets the duration that the LwM2M engine will poll for data after transmission before
# the socket is closed.
CONFIG_LWM2M_QUEUE_MODE_UPTIME=30
# Lifetime 12 hours.
CONFIG_LWM2M_ENGINE_DEFAULT_LIFETIME=43200
# Send registration update 10 minutes before connection lifetime expiration.
CONFIG_LWM2M_SECONDS_TO_UPDATE_EARLY=600

# Support HEX style PSK values (double the size + NULL char)
CONFIG_LWM2M_SECURITY_KEY_SIZE=33

# Extend CoAP retry timeout to 15 seconds
CONFIG_COAP_INIT_ACK_TIMEOUT_MS=15000

# Enable CoAP extended option length
CONFIG_COAP_EXTENDED_OPTIONS_LEN=y
CONFIG_COAP_EXTENDED_OPTIONS_LEN_VALUE=40

# Enable shell
CONFIG_LWM2M_SHELL=y

# AVSystem CDM-665 workaround: force object version reporting.
CONFIG_LWM2M_CONNMON_OBJECT_VERSION_1_3=y
```

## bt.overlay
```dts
/*
 * Copyright (c) 2022 Nordic Semiconductor ASA
 *
 * SPDX-License-Identifier: LicenseRef-Nordic-5-Clause
 */

#include <nrf9160/nrf9160dk_nrf52840_reset_on_if9.dtsi>

/ {
	chosen {
		zephyr,bt-hci = &bt_hci_uart;
	};
};

&gpiote {
	interrupts = <49 NRF_DEFAULT_IRQ_PRIORITY>;
};

&uart2 {
	current-speed = <1000000>;
	status = "okay";
	/delete-property/ hw-flow-control;

	pinctrl-0 = <&uart2_default_alt>;
	pinctrl-1 = <&uart2_sleep_alt>;

	lpuart: nrf-sw-lpuart {
		compatible = "nordic,nrf-sw-lpuart";
		status = "okay";
		req-pin = <21>; /* <&interface_to_nrf52840 3 0>; */
		rdy-pin = <19>; /* <&interface_to_nrf52840 2 0>; */

		bt_hci_uart: bt_hci_uart {
			compatible = "zephyr,bt-hci-uart";
			status = "okay";
		};
	};
};

&uart1 {
	status = "disabled";
};

&pinctrl {
	uart2_default_alt: uart2_default_alt {
		group1 {
			psels = <NRF_PSEL(UART_TX, 0, 18)>,
				<NRF_PSEL(UART_RX, 0, 17)>;
		};
	};

	uart2_sleep_alt: uart2_sleep_alt {
		group1 {
			psels = <NRF_PSEL(UART_TX, 0, 18)>,
				<NRF_PSEL(UART_RX, 0, 17)>;
			low-power-enable;
		};
	};
};
```

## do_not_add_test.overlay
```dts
# Do not add this, only for testing
CONFIG_TEST_ME=n
```

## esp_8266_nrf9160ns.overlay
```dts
/* Copyright (c) 2021-2022 Nordic Semiconductor ASA
 *
 * SPDX-License-Identifier: LicenseRef-Nordic-5-Clause
 */

 /*
  * DTS overlay to be used when connecting nRF9160 DK with ESP8266-01 using
  * the esp_at driver.
  *
  * https://en.wikipedia.org/wiki/ESP8266
  *
  * Wiring:
  * - Slide (SW9) to enable 3V mode.
  * - ESP8266 RX → DK P0.10 (TX)
  * - ESP8266 TX → DK P0.16 (RX)
  * - ESP8266 VCC → DK VDD
  * - ESP8266 CH_PD → DK VDD
  * - ESP8266 GND → DK GND.
  *
  * Compilation with SW overlay:
  * 'west build -p -b nrf9160dk_nrf9160_ns -- -DDTC_OVERLAY_FILE=esp_8266_nrf9160ns.overlay -DOVERLAY_CONFIG="overlay-esp-wifi.conf"'
  */

&uart3 {
	status = "okay";
	current-speed = <115200>;

	pinctrl-0 = <&uart3_default_alt>;
	pinctrl-1 = <&uart3_sleep_alt>;
	pinctrl-names = "default", "sleep";
	esp8266: esp8266 {
		compatible = "espressif,esp-at";
		status = "okay";
	};
};

&pinctrl {
	uart3_default_alt: uart3_default_alt {
		group1 {
			psels = <NRF_PSEL(UART_TX, 0, 10)>,
				<NRF_PSEL(UART_RX, 0, 16)>;
		};
	};

	uart3_sleep_alt: uart3_sleep_alt {
		group1 {
			psels = <NRF_PSEL(UART_TX, 0, 10)>,
				<NRF_PSEL(UART_RX, 0, 16)>;
			low-power-enable;
		};
	};

};

/ {
	chosen {
		ncs,location-wifi = &esp8266;
	};
};
```

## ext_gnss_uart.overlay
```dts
/*
 * Copyright (c) 2025 Nordic Semiconductor ASA
 *
 * SPDX-License-Identifier: LicenseRef-Nordic-5-Clause
 */

/ {
	aliases {
		gnss = &gnss_nmea_generic;
	};
};

&pinctrl {
	uart2_default: uart2_default {
		group1 {
			psels = <NRF_PSEL(UART_TX, 0, 31)>;
		};

		group2 {
			psels = <NRF_PSEL(UART_RX, 0, 30)>;
			bias-pull-up;
		};
	};

	uart2_sleep: uart2_sleep {
		group1 {
			psels = <NRF_PSEL(UART_TX, 0, 31)>,
				<NRF_PSEL(UART_RX, 0, 30)>;
			low-power-enable;
		};
	};
};

&uart2 {
	status = "okay";
	current-speed = <115200>;
	pinctrl-0 = <&uart2_default>;
	pinctrl-1 = <&uart2_sleep>;
	pinctrl-names = "default", "sleep";

	gnss_nmea_generic: gnss-nmea-generic {
		status = "okay";
		compatible = "gnss-nmea-generic";
	};
};
```

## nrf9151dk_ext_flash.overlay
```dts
/*
 * Copyright (c) 2024 Nordic Semiconductor ASA
 *
 * SPDX-License-Identifier: LicenseRef-Nordic-5-Clause
 */

&gd25wb256 {
	status = "okay";

	partitions {
		compatible = "fixed-partitions";
		#address-cells = <1>;
		#size-cells = <1>;

		fmfu_storage_partition: partition@0 {
			label = "fmfu";
			reg = <0x00000000 0x400000>;
		};
	};
};

/ {
	aliases {
		ext-flash = &gd25wb256;
	};

	chosen {
		nordic,fmfu-storage-partition = &fmfu_storage_partition;
	};
};
```

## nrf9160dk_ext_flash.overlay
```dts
/*
 * Copyright (c) 2023 Nordic Semiconductor ASA
 *
 * SPDX-License-Identifier: LicenseRef-Nordic-5-Clause
 */

/* The mx25r64 definition would normally be included when specifying a nrf9160dk_nrf9160_ns
 * board revision >= 0.14.0, but unfortunately twister has a bug that prevents the revision
 * overlay to get loaded when testing the sample.
 */
&spi3 {
	cs-gpios = <&arduino_header 16 GPIO_ACTIVE_LOW>, /* D10 */
		   <&gpio0 25 GPIO_ACTIVE_LOW>;

	mx25r64: mx25r6435f@1 {
		compatible = "jedec,spi-nor";
		reg = <1>;
		status = "okay";
		spi-max-frequency = <8000000>;
		jedec-id = [c2 28 17];
		sfdp-bfp = [e5 20 f1 ff ff ff ff 03 44 eb 08 6b 08 3b 04 bb
			    ee ff ff ff ff ff 00 ff ff ff 00 ff 0c 20 0f 52
			    10 d8 00 ff 23 72 f5 00 82 ed 04 cc 44 83 68 44
			    30 b0 30 b0 f7 c4 d5 5c 00 be 29 ff f0 d0 ff ff];
		size = <67108864>;
		mxicy,mx25r-power-mode = "high-performance";

		partitions {
			compatible = "fixed-partitions";
			#address-cells = <1>;
			#size-cells = <1>;

			fmfu_storage_partition: partition@0 {
				label = "modem_trace";
				reg = <0x00000000 0x400000>;
			};
		};
	};
};

/ {
	aliases {
		ext-flash = &mx25r64;
	};

	chosen {
		nordic,fmfu-storage-partition = &fmfu_storage_partition;
	};
};
```

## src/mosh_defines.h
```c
/*
 * Copyright (c) 2020 Nordic Semiconductor ASA
 *
 * SPDX-License-Identifier: LicenseRef-Nordic-5-Clause
 */

#ifndef MOSH_DEFINES_H
#define MOSH_DEFINES_H

#define MOSH_EMPTY_STRING "\0"

#define MOSH_APN_STR_MAX_LEN (64)
#define MOSH_ARG_NOT_SET -6

#define MOSH_STRING_NULL_CHECK(string) \
	((string != NULL) ? string : MOSH_EMPTY_STRING)

#define MOSH_AT_CMD_RESPONSE_MAX_LEN 2701

enum mosh_signals {
	MOSH_SIGNAL_KILL,
};

/* For location status indication, use LED1 for Thingy:91 X, and LED4 for DKs.
 * Connecting an nRF7002 EK to nRF9151 DK causes GPIO conflict with LED1 and Button 1.
 */
#if defined(CONFIG_BOARD_THINGY91X_NRF9151_NS)
#define LOCATION_STATUS_LED            DK_LED1
#else
#define LOCATION_STATUS_LED            DK_LED4
#endif

#define GPIO_STATUS_LED                DK_LED2
#define REGISTERED_STATUS_LED          DK_LED3

#endif /* MOSH_DEFINES_H */
```
